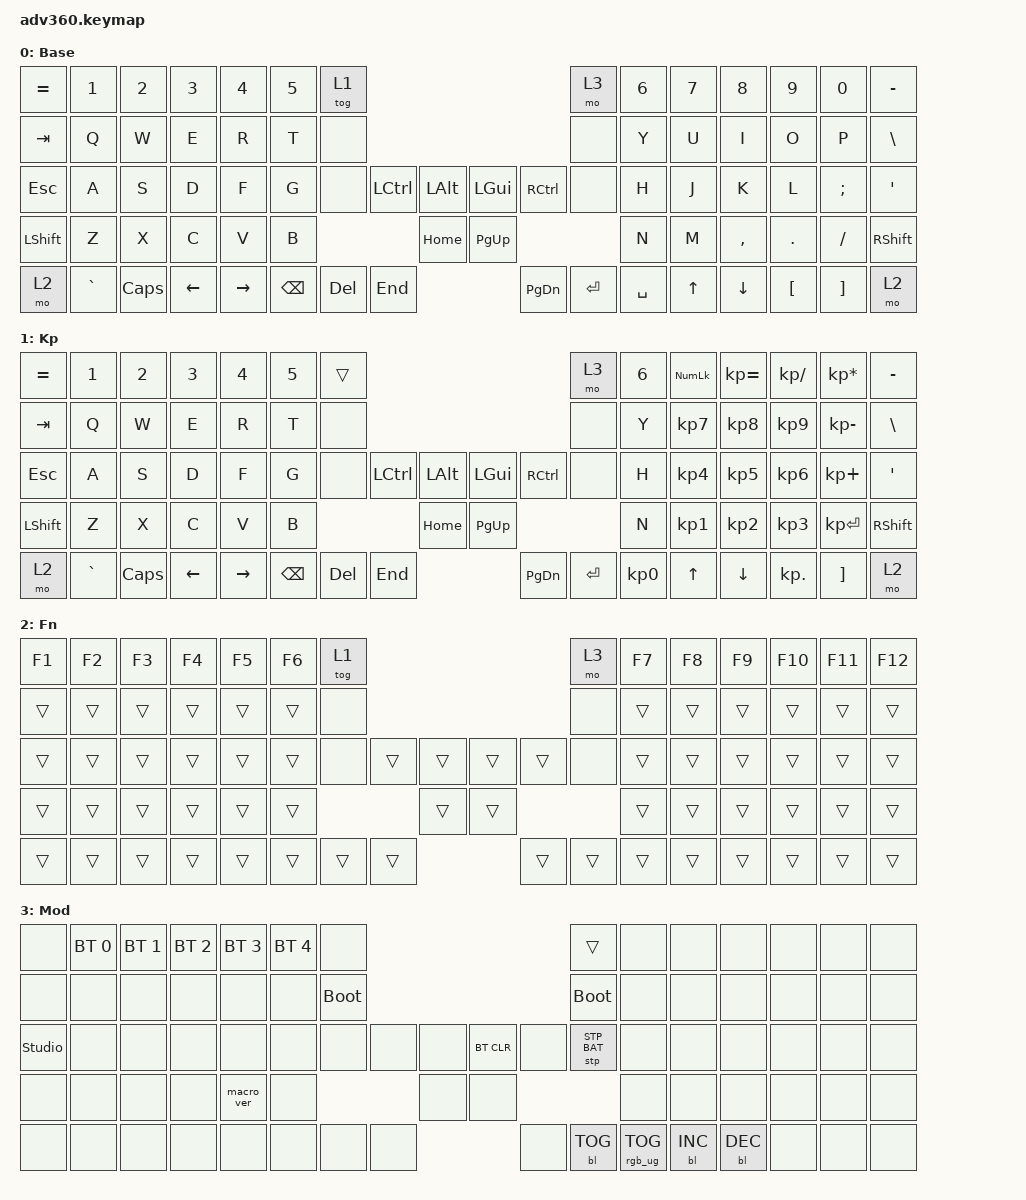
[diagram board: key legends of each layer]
#include <behaviors.dtsi>
#include <dt-bindings/zmk/keys.h>
#include <dt-bindings/zmk/bt.h>
#include <dt-bindings/zmk/rgb.h>
#include <dt-bindings/zmk/stp.h>
#include <dt-bindings/zmk/backlight.h>
#include <dt-bindings/zmk/pointing.h>
#include <dt-bindings/zmk/hid_usage.h>

/ {
    behaviors {
      #include "macros.dtsi"
      #include "version.dtsi"

      hm: homerow_mods {
          compatible = "zmk,behavior-hold-tap";
          label = "HOMEROW_MODS";
          #binding-cells = <2>;
          tapping-term-ms = <200>;
          quick_tap_ms = <175>;
          flavor = "tap-preferred";
          bindings = <&kp>, <&kp>;
      };

      tog_on: toggle_layer_on_only {
        compatible = "zmk,behavior-toggle-layer";
        #binding-cells = <1>;
        display-name = "Toggle Layer On";
        toggle-mode = "on";
      };

      tog_off: toggle_layer_off_only {
        compatible = "zmk,behavior-toggle-layer";
        #binding-cells = <1>;
        display-name = "Toggle Layer Off";
        toggle-mode = "off";
      };

      tb_cyc_dpi: tb_cyc_dpi {
        display-name = "Cycle Trackball DPI";
        compatible = "zmk,behavior-macro";
        #binding-cells = <0>;
        tap-ms = <5>;
        wait-ms = <5>;
        bindings
            = <&macro_tap &kp CLCK>
            , <&macro_tap &kp CLCK>
            ;
      };

      mod_base: mod_base {
        compatible = "zmk,behavior-macro-one-param";
        wait-ms = <0>;
        tap-ms = <0>;
        #binding-cells = <1>;
        bindings
            = <&macro_press &mo 0>
            , <&macro_param_1to1>
            , <&macro_press &kp MACRO_PLACEHOLDER>
            , <&macro_pause_for_release>
            , <&macro_param_1to1>
            , <&macro_release &kp MACRO_PLACEHOLDER>
            , <&macro_release &mo 0>
            ;
      };
    };

  hid_listeners {
    compatible = "zmk,hid-listeners";

    toggle_kp_on_num {
      indicator = <HID_USAGE_LED_NUM_LOCK>;
      bindings = <&tog_on 1 &tog_off 1>;
    };
  };

  keymap {
    compatible = "zmk,keymap";

    default_layer {
      display-name = "Base";
      bindings = <
        &kp EQUAL &kp N1    &kp N2   &kp N3   &kp N4     &kp N5 &tog 1                                                           &mo 3 &kp N6 &kp N7 &kp N8    &kp N9   &kp N0   &kp MINUS
        &kp TAB   &kp Q     &kp W    &kp E    &kp R      &kp T  &none                                                            &none &kp Y  &kp U  &kp I     &kp O    &kp P    &kp BSLH
        &kp ESC   &kp A     &kp S    &kp D    &kp F      &kp G  &none           &kp LCTRL &kp LALT &kp LGUI  &kp RCTRL           &none &kp H  &kp J  &kp K     &kp L    &kp SEMI &kp SQT
        &kp LSHFT &kp Z     &kp X    &kp C    &kp V      &kp B                            &kp HOME &kp PG_UP                           &kp N  &kp M  &kp COMMA &kp DOT  &kp FSLH &kp RSHFT
        &mo 2     &kp GRAVE &kp CAPS &kp LEFT &kp RIGHT                &kp BSPC &kp DEL   &kp END  &kp PG_DN &kp ENTER &kp SPACE              &kp UP &kp DOWN  &kp LBKT &kp RBKT &mo 2
      >;
    };
    keypad {
      display-name = "Kp";
      bindings = <
        &kp EQUAL &kp N1    &kp N2   &kp N3   &kp N4     &kp N5 &trans                                                           &mo 3 &kp N6 &kp KP_NUM &kp KP_EQUAL &kp KP_DIVIDE &kp KP_MULTIPLY &kp MINUS
        &kp TAB   &kp Q     &kp W    &kp E    &kp R      &kp T  &none                                                            &none &kp Y  &kp KP_N7  &kp KP_N8    &kp KP_N9     &kp KP_MINUS    &kp BSLH
        &kp ESC   &kp A     &kp S    &kp D    &kp F      &kp G  &none           &kp LCTRL &kp LALT &kp LGUI  &kp RCTRL           &none &kp H  &kp KP_N4  &kp KP_N5    &kp KP_N6     &kp KP_PLUS     &kp SQT
        &kp LSHFT &kp Z     &kp X    &kp C    &kp V      &kp B                            &kp HOME &kp PG_UP                           &kp N  &kp KP_N1  &kp KP_N2    &kp KP_N3     &kp KP_ENTER    &kp RSHFT
        &mo 2     &kp GRAVE &kp CAPS &kp LEFT &kp RIGHT                &kp BSPC &kp DEL   &kp END  &kp PG_DN &kp ENTER &kp KP_N0              &kp UP     &kp DOWN     &kp KP_DOT    &kp RBKT        &mo 2
      >;
    };
    fn {
      display-name = "Fn";
      bindings = <
        &kp F1 &kp F2 &kp F3 &kp F4 &kp F5 &kp F6 &tog 1                                           &mo 3 &kp F7 &kp F8 &kp F9 &kp F10 &kp F11 &kp F12
        &trans &trans &trans &trans &trans &trans  &none                                           &none &trans &trans &trans &trans  &trans  &trans
        &trans &trans &trans &trans &trans &trans  &none        &trans &trans &trans &trans        &none &trans &trans &trans &trans  &trans  &trans
        &trans &trans &trans &trans &trans &trans                      &trans &trans                     &trans &trans &trans &trans  &trans  &trans
        &trans &trans &trans &trans &trans               &trans &trans &trans &trans &trans &trans              &trans &trans &trans  &trans  &trans
      >;
    };
    mod {
      display-name = "Mod";
      bindings = <
        &none &bt BT_SEL 0 &bt BT_SEL 1 &bt BT_SEL 2 &bt BT_SEL 3 &bt BT_SEL 4 &none                                                                     &trans                 &none        &none        &none        &none &none &none
        &none &none        &none        &none        &none        &none        &bootloader                                                               &bootloader            &none        &none        &none        &none &none &none
        &studio_unlock &none        &none        &none        &none        &none        &none                   &none &none &bt BT_CLR &none                      &stp STP_BAT &none        &none        &none        &none &none &none
        &none &none        &none        &none        &macro_ver   &none                                      &none &none                                                        &none        &none        &none        &none &none &none
        &none &none        &none        &none        &none                                       &none &none &none &none      &bl BL_TOG &rgb_ug RGB_TOG                                     &bl BL_INC   &bl BL_DEC   &none &none &none
      >;
    };
    extra1 { 
      display-name = "Red";    
      status = "reserved";
    };

    extra2 { 
      display-name = "Purple";    
      status = "reserved";
    };

    extra3 { 
      display-name = "Cyan";    
      status = "reserved";
    };

    extra4 { 
      display-name = "Yellow";    
      status = "reserved";
    };
  };
};
